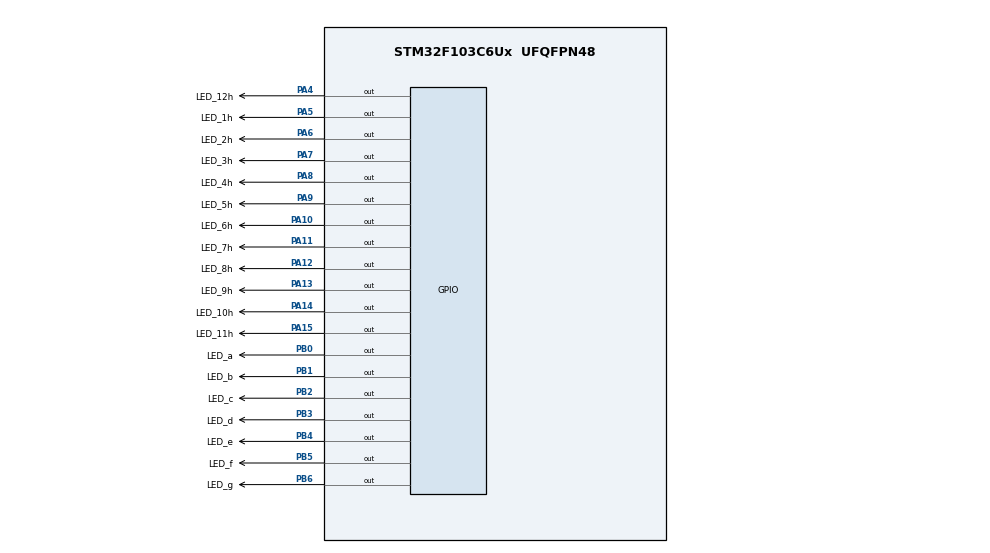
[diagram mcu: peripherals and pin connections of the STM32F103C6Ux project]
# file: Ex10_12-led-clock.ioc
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Mcu.Family=STM32F1
Mcu.Name=STM32F103C6Ux
Mcu.Package=UFQFPN48
NVIC.PriorityGroup=NVIC_PRIORITYGROUP_4
PA10.GPIO_Label=LED_6h
PA10.Signal=GPIO_Output
PA11.GPIO_Label=LED_7h
PA11.Signal=GPIO_Output
PA12.GPIO_Label=LED_8h
PA12.Signal=GPIO_Output
PA13.GPIO_Label=LED_9h
PA13.Signal=GPIO_Output
PA14.GPIO_Label=LED_10h
PA14.Signal=GPIO_Output
PA15.GPIO_Label=LED_11h
PA15.Signal=GPIO_Output
PA4.GPIO_Label=LED_12h
PA4.Signal=GPIO_Output
PA5.GPIO_Label=LED_1h
PA5.Signal=GPIO_Output
PA6.GPIO_Label=LED_2h
PA6.Signal=GPIO_Output
PA7.GPIO_Label=LED_3h
PA7.Signal=GPIO_Output
PA8.GPIO_Label=LED_4h
PA8.Signal=GPIO_Output
PA9.GPIO_Label=LED_5h
PA9.Signal=GPIO_Output
PB0.GPIO_Label=LED_a
PB0.Signal=GPIO_Output
PB1.GPIO_Label=LED_b
PB1.Signal=GPIO_Output
PB2.GPIO_Label=LED_c
PB2.Signal=GPIO_Output
PB3.GPIO_Label=LED_d
PB3.Signal=GPIO_Output
PB4.GPIO_Label=LED_e
PB4.Signal=GPIO_Output
PB5.GPIO_Label=LED_f
PB5.Signal=GPIO_Output
PB6.GPIO_Label=LED_g
PB6.Signal=GPIO_Output
ProjectManager.HeapSize=0x200
ProjectManager.StackSize=0x400
ProjectManager.TargetToolchain=STM32CubeIDE
RCC.APB1Freq_Value=8000000
RCC.APB2Freq_Value=8000000
VP_SYS_VS_ND.Mode=No_Debug
board=custom

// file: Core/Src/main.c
/* USER CODE BEGIN Header */
/**
  ******************************************************************************
  * @file           : main.c
  * @brief          : Main program body
  ******************************************************************************
  * @attention
  *
  * <h2><center>&copy; Copyright (c) 2026 STMicroelectronics.
  * All rights reserved.</center></h2>
  *
  * This software component is licensed by ST under BSD 3-Clause license,
  * the "License"; You may not use this file except in compliance with the
  * License. You may obtain a copy of the License at:
  *                        opensource.org/licenses/BSD-3-Clause
  *
  ******************************************************************************
  */
/* USER CODE END Header */
#include "main.h"

/* USER CODE BEGIN PTD */
typedef enum{
	AUTO_RED_GREEN = 0, //r1 - g6
	AUTO_RED_YELLOW, // r1 - y5
	AUTO_GREEN_RED, // g3 - r4
	AUTO_YELLOW_RED // y2 - r4
}TrafficState;
/* USER CODE END PTD */

/* USER CODE BEGIN PV */
const uint16_t CLOCK_PINS[12] = {
    GPIO_PIN_4,  // 0: Vị trí 12h
    GPIO_PIN_5,  // 1: Vị trí 1h
    GPIO_PIN_6,  // 2: Vị trí 2h
    GPIO_PIN_7,  // 3: Vị trí 3h
    GPIO_PIN_8,  // 4: Vị trí 4h
    GPIO_PIN_9,  // 5: Vị trí 5h
    GPIO_PIN_10, // 6: Vị trí 6h
    GPIO_PIN_11, // 7: Vị trí 7h
    GPIO_PIN_12, // 8: Vị trí 8h
    GPIO_PIN_13, // 9: Vị trí 9h
    GPIO_PIN_14, // 10: Vị trí 10h
    GPIO_PIN_15  // 11: Vị trí 11h
};
/* USER CODE END PV */

void SystemClock_Config(void);
static void MX_GPIO_Init(void);

/* USER CODE BEGIN 0 */
void clearAllClock(void) {
    HAL_GPIO_WritePin(GPIOA,
        GPIO_PIN_4  | GPIO_PIN_5  | GPIO_PIN_6  | GPIO_PIN_7  |
        GPIO_PIN_8  | GPIO_PIN_9  | GPIO_PIN_10 | GPIO_PIN_11 |
        GPIO_PIN_12 | GPIO_PIN_13 | GPIO_PIN_14 | GPIO_PIN_15,
        GPIO_PIN_SET); // Ghi mức 1 (SET) để tắt toàn bộ LED (Active-Low)
}

void setNumberOnClock(int num) {
    if (num >= 0 && num < 12) {
        HAL_GPIO_WritePin(GPIOA, CLOCK_PINS[num], GPIO_PIN_RESET);
    }
}

void clearNumberOnClock(int num) {
    if (num >= 0 && num < 12) {
        HAL_GPIO_WritePin(GPIOA, CLOCK_PINS[num], GPIO_PIN_SET);
    }
}
/* USER CODE END 0 */

int main(void)
{

  /* MCU Configuration--------------------------------------------------------*/

  /* Reset of all peripherals, Initializes the Flash interface and the Systick. */
  HAL_Init();

  /* Configure the system clock */
  SystemClock_Config();

  /* Initialize all configured peripherals */
  MX_GPIO_Init();
  /* USER CODE BEGIN 2 */
  int hour = 9;
  int min = 24;
  int sec = 0;

  clearAllClock();
  /* USER CODE END 2 */

  /* Infinite loop */
  /* USER CODE BEGIN WHILE */
  while (1)
  {
	  clearAllClock();
	  int sec_led  = (sec / 5) % 12;
	  int min_led  = (min / 5) % 12;
	  int hour_led = hour % 12;

	  setNumberOnClock(hour_led);
	  setNumberOnClock(min_led);
	  setNumberOnClock(sec_led);
	  HAL_Delay(1000);

	  sec++;
	        if (sec >= 60) {
	            sec = 0;
	            min++;
	            if (min >= 60) {
	                min = 0;
	                hour++;
	                if (hour >= 24) {
	                    hour = 0;
	                }
	            }
	        }
    /* USER CODE END WHILE */

  }
}

void SystemClock_Config(void)
{
  RCC_OscInitTypeDef RCC_OscInitStruct = {0};
  RCC_ClkInitTypeDef RCC_ClkInitStruct = {0};

  /** Initializes the RCC Oscillators according to the specified parameters
  * in the RCC_OscInitTypeDef structure.
  */
  RCC_OscInitStruct.OscillatorType = RCC_OSCILLATORTYPE_HSI;
  RCC_OscInitStruct.HSIState = RCC_HSI_ON;
  RCC_OscInitStruct.HSICalibrationValue = RCC_HSICALIBRATION_DEFAULT;
  RCC_OscInitStruct.PLL.PLLState = RCC_PLL_NONE;
  if (HAL_RCC_OscConfig(&RCC_OscInitStruct) != HAL_OK)
  {
    Error_Handler();
  }
  /** Initializes the CPU, AHB and APB buses clocks
  */
  RCC_ClkInitStruct.ClockType = RCC_CLOCKTYPE_HCLK|RCC_CLOCKTYPE_SYSCLK
                              |RCC_CLOCKTYPE_PCLK1|RCC_CLOCKTYPE_PCLK2;
  RCC_ClkInitStruct.SYSCLKSource = RCC_SYSCLKSOURCE_HSI;
  RCC_ClkInitStruct.AHBCLKDivider = RCC_SYSCLK_DIV1;
  RCC_ClkInitStruct.APB1CLKDivider = RCC_HCLK_DIV1;
  RCC_ClkInitStruct.APB2CLKDivider = RCC_HCLK_DIV1;

  if (HAL_RCC_ClockConfig(&RCC_ClkInitStruct, FLASH_LATENCY_0) != HAL_OK)
  {
    Error_Handler();
  }
}

static void MX_GPIO_Init(void)
{
  GPIO_InitTypeDef GPIO_InitStruct = {0};

  /* GPIO Ports Clock Enable */
  __HAL_RCC_GPIOA_CLK_ENABLE();
  __HAL_RCC_GPIOB_CLK_ENABLE();

  /*Configure GPIO pin Output Level */
  HAL_GPIO_WritePin(GPIOA, LED_12h_Pin|LED_1h_Pin|LED_2h_Pin|LED_3h_Pin
                          |LED_4h_Pin|LED_5h_Pin|LED_6h_Pin|LED_7h_Pin
                          |LED_8h_Pin|LED_9h_Pin|LED_10h_Pin|LED_11h_Pin, GPIO_PIN_RESET);

  /*Configure GPIO pin Output Level */
  HAL_GPIO_WritePin(GPIOB, LED_a_Pin|LED_b_Pin|LED_c_Pin|LED_d_Pin
                          |LED_e_Pin|LED_f_Pin|LED_g_Pin, GPIO_PIN_RESET);

  /*Configure GPIO pins : LED_12h_Pin LED_1h_Pin LED_2h_Pin LED_3h_Pin
                           LED_4h_Pin LED_5h_Pin LED_6h_Pin LED_7h_Pin
                           LED_8h_Pin LED_9h_Pin LED_10h_Pin LED_11h_Pin */
  GPIO_InitStruct.Pin = LED_12h_Pin|LED_1h_Pin|LED_2h_Pin|LED_3h_Pin
                          |LED_4h_Pin|LED_5h_Pin|LED_6h_Pin|LED_7h_Pin
                          |LED_8h_Pin|LED_9h_Pin|LED_10h_Pin|LED_11h_Pin;
  GPIO_InitStruct.Mode = GPIO_MODE_OUTPUT_PP;
  GPIO_InitStruct.Pull = GPIO_NOPULL;
  GPIO_InitStruct.Speed = GPIO_SPEED_FREQ_LOW;
  HAL_GPIO_Init(GPIOA, &GPIO_InitStruct);

  /*Configure GPIO pins : LED_a_Pin LED_b_Pin LED_c_Pin LED_d_Pin
                           LED_e_Pin LED_f_Pin LED_g_Pin */
  GPIO_InitStruct.Pin = LED_a_Pin|LED_b_Pin|LED_c_Pin|LED_d_Pin
                          |LED_e_Pin|LED_f_Pin|LED_g_Pin;
  GPIO_InitStruct.Mode = GPIO_MODE_OUTPUT_PP;
  GPIO_InitStruct.Pull = GPIO_NOPULL;
  GPIO_InitStruct.Speed = GPIO_SPEED_FREQ_LOW;
  HAL_GPIO_Init(GPIOB, &GPIO_InitStruct);

}

void Error_Handler(void)
{
  __disable_irq();
  while (1)
  {
  }
}

/************************ (C) COPYRIGHT STMicroelectronics *****END OF FILE****/
